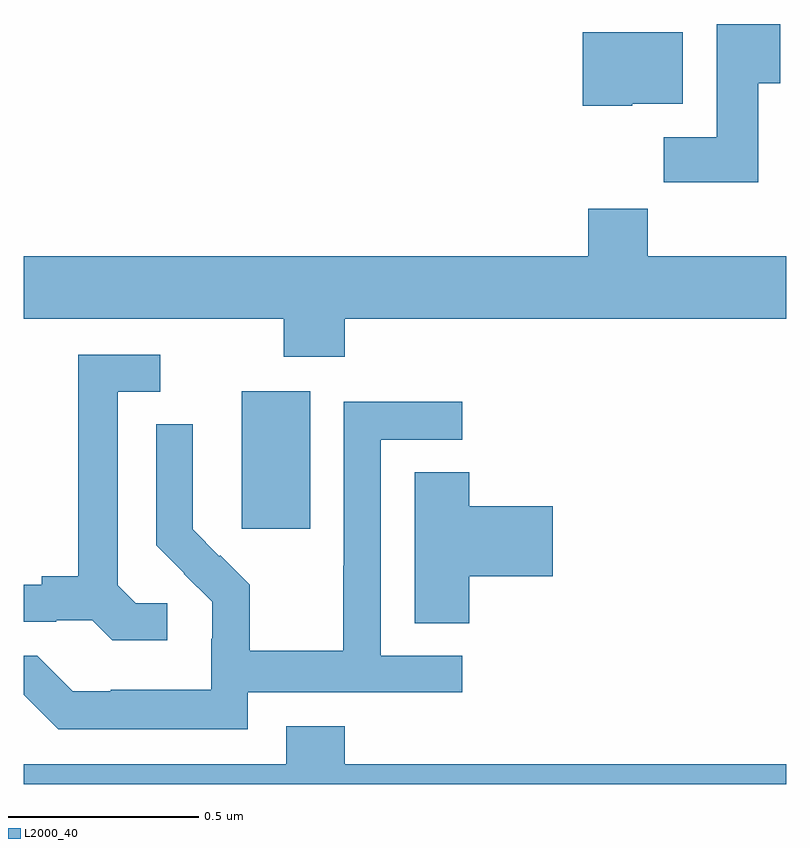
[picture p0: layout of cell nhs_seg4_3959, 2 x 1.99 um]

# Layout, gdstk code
import gdstk
lib = gdstk.Library(unit=1e-6, precision=1e-09)
def R(c, l, rs):  # rectangles x0, y0, x1, y1
    for r in rs: c.add(gdstk.rectangle(r[:2], r[2:], *l))
def P(c, l, *ps):  # polygons
    for p in ps: c.add(gdstk.Polygon(p, *l))
L2000_40 = (2000, 40)

nhs_seg4_3959 = lib.new_cell('nhs_seg4_3959')
R(nhs_seg4_3959, L2000_40, [(159.572,829.569,159.751,829.93)])
P(nhs_seg4_3959, L2000_40, [(160.927,830.737),(160.984,830.737),(160.984,830.893),(160.817,830.893),(160.817,830.596),(160.678,830.596),(160.678,830.478),(160.927,830.478)],
  [(160.596,830.684),(160.729,830.684),(160.729,830.872),(160.466,830.872),(160.466,830.678),(160.596,830.678)],
  [(159.842,830.12),(161,830.12),(161,830.284),(160.637,830.284),(160.637,830.408),(160.481,830.408),(160.481,830.284),(159,830.284),(159,830.12),(159.682,830.12),(159.682,830.021),(159.842,830.021)],
  [(159.376,829.374),(159.294,829.374),(159.247,829.421),(159.247,829.929),(159.358,829.929),(159.358,830.025),(159.143,830.025),(159.143,829.445),(159.047,829.445),(159.047,829.422),(159,829.422),(159,829.326),(159.086,829.326),(159.086,829.329),(159.18,829.329),(159.232,829.277),(159.376,829.277)],
  [(159.588,829.14),(160.15,829.14),(160.15,829.236),(159.936,829.236),(159.936,829.803),(160.15,829.803),(160.15,829.902),(159.84,829.902),(159.84,829.472),(159.838,829.472),(159.838,829.249),(159.593,829.249),(159.593,829.423),(159.516,829.5),(159.513,829.497),(159.443,829.568),(159.443,829.69),(159.444,829.69),(159.444,829.844),(159.348,829.844),(159.348,829.526),(159.421,829.453),(159.42,829.452),(159.494,829.378),(159.494,829.281),(159.492,829.281),(159.492,829.147),(159.229,829.147),(159.229,829.143),(159.129,829.143),(159.036,829.236),(159,829.236),(159,829.134),(159.091,829.043),(159.588,829.043)],
  [(160.169,829.445),(160.387,829.445),(160.387,829.628),(160.169,829.628),(160.169,829.718),(160.025,829.718),(160.025,829.321),(160.169,829.321)],
  [(161,828.952),(159.842,828.952),(159.842,829.051),(159.689,829.051),(159.689,828.952),(159,828.952),(159,828.9),(161,828.9)])

lib.write_gds('nhs_seg4_3959.gds')
